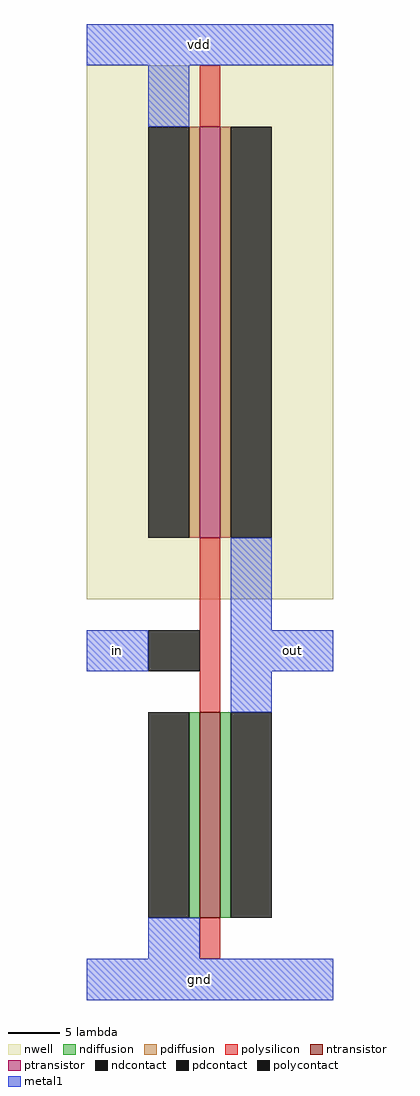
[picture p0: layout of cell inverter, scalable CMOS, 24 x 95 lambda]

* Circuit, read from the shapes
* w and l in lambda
.subckt inverter gnd in out vdd
M1 out in gnd VSUBS nfet w=20 l=2
M2 out in vdd n1 pfet w=40 l=2
.ends

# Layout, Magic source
magic
tech scmos
<< nwell >>
rect -6 26 18 78
<< ntransistor >>
rect 5 -5 7 15
<< ptransistor >>
rect 5 32 7 72
<< ndiffusion >>
rect 4 -5 5 15
rect 7 -5 8 15
<< pdiffusion >>
rect 4 32 5 72
rect 7 32 8 72
<< ndcontact >>
rect 0 -5 4 15
rect 8 -5 12 15
<< pdcontact >>
rect 0 32 4 72
rect 8 32 12 72
<< polysilicon >>
rect 5 72 7 78
rect 5 15 7 32
rect 5 -9 7 -5
<< polycontact >>
rect 0 19 5 23
<< metal1 >>
rect -6 78 18 82
rect 0 72 4 78
rect 8 23 12 32
rect -6 19 0 23
rect 8 19 18 23
rect 8 15 12 19
rect 0 -9 5 -5
rect -6 -13 18 -9
<< labels >>
rlabel metal1 5 80 5 80 5 vdd
rlabel metal1 5 -11 5 -11 1 gnd
rlabel metal1 -3 21 -3 21 3 in
rlabel metal1 14 21 14 21 7 out
<< end >>
